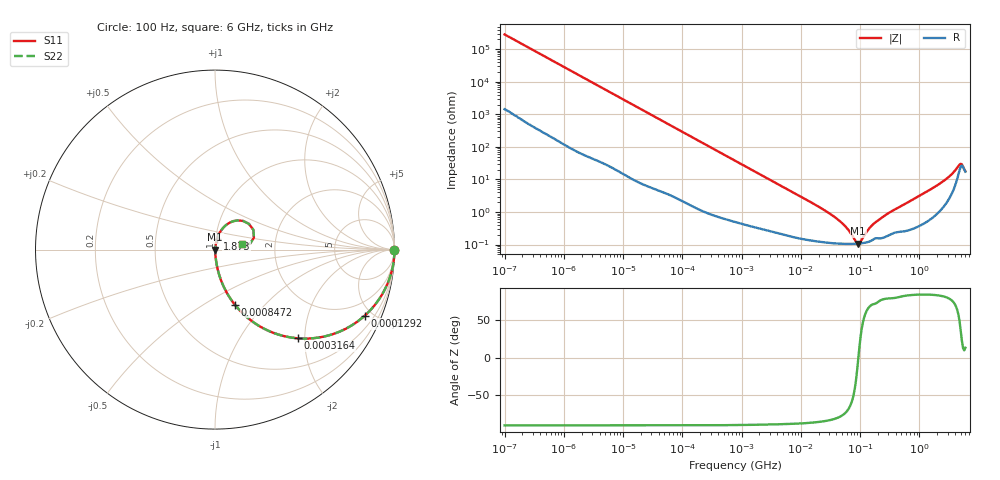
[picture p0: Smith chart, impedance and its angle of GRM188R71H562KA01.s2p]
!Murata Part Number: GRM188R71H562KA01
!These Parameters are Measured in Series Mode Connection
!Data Generated on Mar 30, 2021
!  o--ll--o
!Port1  Port2
!  o------o
!Operation Temp=25[degC], DC Bias Voltage=0[V]
!Freq. Start=100[Hz] Stop=6[GHz] 401[Steps]
# Hz S RI R 50
!Freq.(Hz) S11(Real) S11(Imag) S21(Real) S21(Imag) S12(Real) S12(Imag) S22(Real) S22(Imag)
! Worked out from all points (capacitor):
!   401 points, 100 Hz to 6 GHz, reference 50 ohm
!   read as one part in series: C = 5.58 nF near 109 Hz
!   lowest |Z| = 107 mohm at 93.27 MHz (marker M1)
!   series resonance near 93.72 MHz, so ESL is about 520 pH
!   S11 on the Smith chart (normalised r, x): 100 Hz: open; 129.2 kHz: 1.03, -4.51; 316.4 kHz: 1.02, -1.85; 847.2 kHz: 1.01, -0.69; 1.873 GHz: 1.02, +0.12; 6 GHz: 1.35, +0.08
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100  1 -0.000351  1.9e-06 0.000351  1.9e-06 0.000351  1 -0.000351
2008  0.9999 -0.007  7.86e-05 0.007  7.86e-05 0.007  0.9999 -0.007
12592  0.9979 -0.0435  0.00212 0.0435  0.00212 0.0435  0.9979 -0.0435
40335  0.9801 -0.1364  0.0199 0.1364  0.0199 0.1364  0.9801 -0.1364
129199  0.8337 -0.3686  0.1663 0.3686  0.1663 0.3686  0.8337 -0.3686
316350  0.4607 -0.494  0.5393 0.494  0.5393 0.494  0.4607 -0.494
774597  0.1287 -0.3284  0.8713 0.3284  0.8713 0.3284  0.1287 -0.3284
847162  0.1105 -0.3068  0.8895 0.3068  0.8895 0.3068  0.1105 -0.3068
2837864  0.0134 -0.1028  0.9866 0.1028  0.9866 0.1028  0.0134 -0.1028
1.555665e7  0.00167 -0.0189  0.9983 0.0189  0.9983 0.0189  0.00167 -0.0189
4.556224e7  0.00109 -0.00514  0.9989 0.00514  0.9989 0.00514  0.00109 -0.00514
6.233367e7  0.00105 -0.00275  0.9989 0.00275  0.9989 0.00275  0.00105 -0.00275
8.527865e7  0.00106 -0.000621  0.9989 0.000621  0.9989 0.000621  0.00106 -0.000621
9.326766e7  0.00107 -3.11e-05  0.9989 3.11e-05  0.9989 3.11e-05  0.00107 -3.11e-05
1.020051e8  0.00109 0.00056  0.9989 -0.00056  0.9989 -0.00056  0.00109 0.00056
1.596157e8  0.00137 0.00369  0.9986 -0.00369  0.9986 -0.00369  0.00137 0.00369
3.124326e8  0.00206 0.00939  0.9979 -0.00939  0.9979 -0.00939  0.00206 0.00939
1.873145e9  0.0114 0.0596  0.9886 -0.0596  0.9886 -0.0596  0.0114 0.0596
3.352442e9  0.0444 0.1201  0.9556 -0.1201  0.9556 -0.1201  0.0444 0.1201
4.586474e9  0.1568 0.1596  0.8432 -0.1596  0.8432 -0.1596  0.1568 0.1596
5.016141e9  0.2141 0.1097  0.7859 -0.1097  0.7859 -0.1097  0.2141 0.1097
6e9  0.149 0.0291  0.851 -0.0291  0.851 -0.0291  0.149 0.0291
